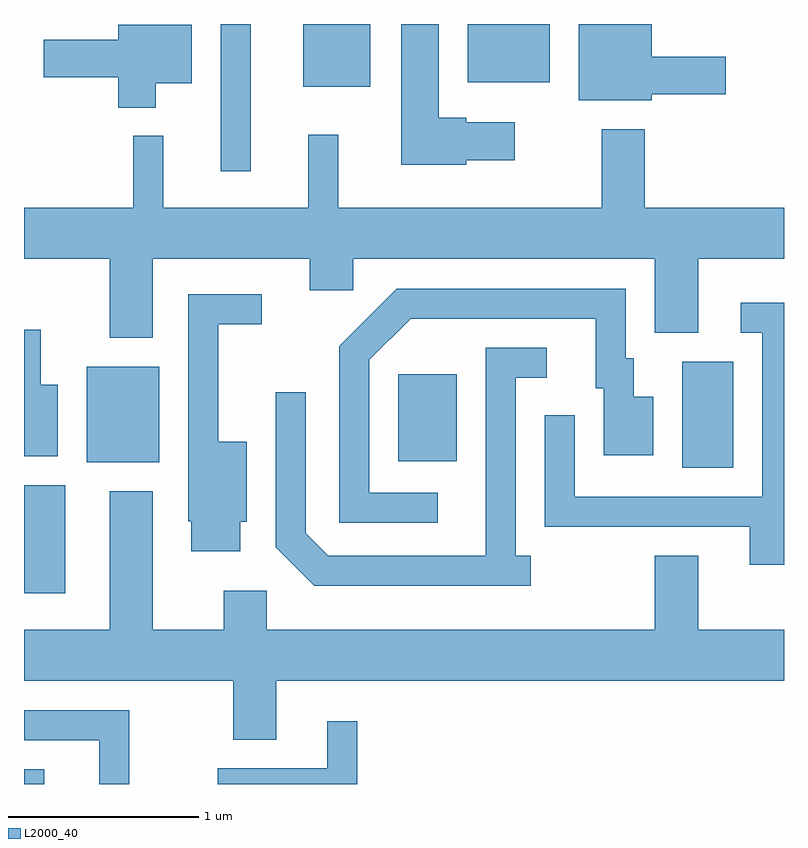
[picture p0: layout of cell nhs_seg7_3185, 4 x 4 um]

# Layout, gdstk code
import gdstk
lib = gdstk.Library(unit=1e-6, precision=1e-09)
def R(c, l, rs):  # rectangles x0, y0, x1, y1
    for r in rs: c.add(gdstk.rectangle(r[:2], r[2:], *l))
def P(c, l, *ps):  # polygons
    for p in ps: c.add(gdstk.Polygon(p, *l))
L2000_40 = (2000, 40)

nhs_seg7_3185 = lib.new_cell('nhs_seg7_3185')
R(nhs_seg7_3185, L2000_40, [(283.611,1678.252,283.718,1678.329), (283.611,1679.256,283.829,1679.824), (287.076,1679.916,287.344,1680.474), (283.941,1679.946,284.324,1680.449), (285.581,1679.951,285.889,1680.409), (284.646,1681.478,284.804,1682.252), (285.081,1681.921,285.434,1682.252), (285.946,1681.946,286.379,1682.252)])
P(nhs_seg7_3185, L2000_40, [(285.939,1681.536),(286.194,1681.536),(286.194,1681.734),(285.939,1681.734),(285.939,1681.759),(285.794,1681.759),(285.794,1682.252),(285.596,1682.252),(285.596,1681.511),(285.939,1681.511)],
  [(286.914,1681.881),(287.304,1681.881),(287.304,1682.079),(286.914,1682.079),(286.914,1682.252),(286.531,1682.252),(286.531,1681.851),(286.914,1681.851)],
  [(284.304,1681.941),(284.494,1681.941),(284.494,1682.249),(284.106,1682.249),(284.106,1682.169),(283.716,1682.169),(283.716,1681.971),(284.106,1681.971),(284.106,1681.811),(284.304,1681.811)],
  [(284.289,1681.016),(285.116,1681.016),(285.116,1680.851),(285.344,1680.851),(285.344,1681.016),(286.931,1681.016),(286.931,1680.626),(287.159,1680.626),(287.159,1681.016),(287.611,1681.016),(287.611,1681.284),(286.879,1681.284),(286.879,1681.699),(286.651,1681.699),(286.651,1681.284),(285.264,1681.284),(285.264,1681.668),(285.106,1681.668),(285.106,1681.284),(284.344,1681.284),(284.344,1681.663),(284.186,1681.663),(284.186,1681.284),(283.611,1681.284),(283.611,1681.016),(284.061,1681.016),(284.061,1680.601),(284.289,1680.601)],
  [(285.788,1679.784),(285.429,1679.784),(285.429,1680.484),(285.647,1680.701),(286.621,1680.701),(286.621,1680.336),(286.661,1680.336),(286.661,1679.981),(286.924,1679.981),(286.924,1680.289),(286.819,1680.289),(286.819,1680.494),(286.779,1680.494),(286.779,1680.859),(285.574,1680.859),(285.271,1680.557),(285.271,1679.626),(285.788,1679.626)],
  [(284.749,1679.631),(284.784,1679.631),(284.784,1680.054),(284.634,1680.054),(284.634,1680.671),(284.863,1680.671),(284.863,1680.829),(284.476,1680.829),(284.476,1679.635),(284.491,1679.635),(284.491,1679.476),(284.749,1679.476)],
  [(287.611,1680.784),(287.383,1680.784),(287.383,1680.626),(287.496,1680.626),(287.496,1679.764),(286.509,1679.764),(286.509,1680.193),(286.351,1680.193),(286.351,1679.606),(287.431,1679.606),(287.431,1679.406),(287.611,1679.406)],
  [(283.789,1680.354),(283.699,1680.354),(283.699,1680.644),(283.611,1680.644),(283.611,1679.976),(283.789,1679.976)],
  [(286.278,1679.454),(286.199,1679.454),(286.199,1680.391),(286.363,1680.391),(286.363,1680.549),(286.041,1680.549),(286.041,1679.454),(285.212,1679.454),(285.094,1679.572),(285.094,1680.313),(284.936,1680.313),(284.936,1679.499),(285.139,1679.296),(286.278,1679.296)],
  [(284.939,1678.796),(287.611,1678.796),(287.611,1679.064),(287.159,1679.064),(287.159,1679.454),(286.931,1679.454),(286.931,1679.064),(284.889,1679.064),(284.889,1679.269),(284.661,1679.269),(284.661,1679.064),(284.289,1679.064),(284.289,1679.794),(284.061,1679.794),(284.061,1679.064),(283.611,1679.064),(283.611,1678.796),(284.711,1678.796),(284.711,1678.486),(284.939,1678.486)],
  [(284.164,1678.639),(283.611,1678.639),(283.611,1678.481),(284.006,1678.481),(284.006,1678.252),(284.164,1678.252)],
  [(285.364,1678.583),(285.206,1678.583),(285.206,1678.334),(284.631,1678.334),(284.631,1678.252),(285.364,1678.252)])

lib.write_gds('nhs_seg7_3185.gds')
